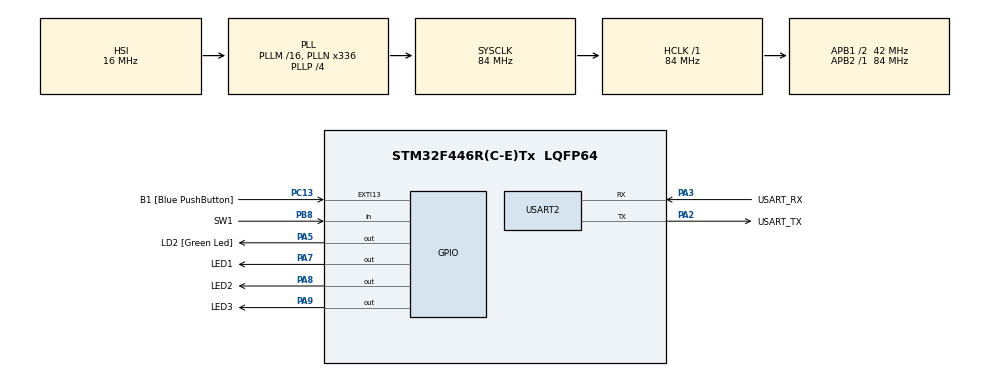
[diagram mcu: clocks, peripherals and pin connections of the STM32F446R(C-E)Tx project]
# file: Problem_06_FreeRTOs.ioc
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FREERTOS.Tasks01=on_led,0,128,sw1_led3,Default,NULL,Dynamic,NULL,NULL
FREERTOS.configUSE_NEWLIB_REENTRANT=1
Mcu.Family=STM32F4
Mcu.Name=STM32F446R(C-E)Tx
Mcu.Package=LQFP64
NVIC.PriorityGroup=NVIC_PRIORITYGROUP_4
NVIC.TIM3_IRQn=true\:15\:0\:false\:false\:true\:false\:false\:true\:true
NVIC.TimeBase=TIM3_IRQn
NVIC.TimeBaseIP=TIM3
PA13.GPIO_Label=TMS
PA13.Mode=Serial_Wire
PA13.Signal=SYS_JTMS-SWDIO
PA14.GPIO_Label=TCK
PA14.Mode=Serial_Wire
PA14.Signal=SYS_JTCK-SWCLK
PA2.GPIO_Label=USART_TX
PA2.Mode=Asynchronous
PA2.Signal=USART2_TX
PA3.GPIO_Label=USART_RX
PA3.Mode=Asynchronous
PA3.Signal=USART2_RX
PA5.GPIO_Label=LD2 [Green Led]
PA5.Signal=GPIO_Output
PA7.GPIO_Label=LED1
PA7.Signal=GPIO_Output
PA8.GPIO_Label=LED2
PA8.Signal=GPIO_Output
PA9.GPIO_Label=LED3
PA9.Signal=GPIO_Output
PB3.GPIO_Label=SWO
PB3.Signal=SYS_JTDO-SWO
PB8.GPIO_Label=SW1
PB8.GPIO_PuPd=GPIO_PULLUP
PB8.Signal=GPIO_Input
PC13.GPIO_Label=B1 [Blue PushButton]
PC13.GPIO_ModeDefaultEXTI=GPIO_MODE_IT_FALLING
PC13.Signal=GPXTI13
PC14-OSC32_IN.Mode=LSE-External-Oscillator
PC14-OSC32_IN.Signal=RCC_OSC32_IN
PC15-OSC32_OUT.Mode=LSE-External-Oscillator
PC15-OSC32_OUT.Signal=RCC_OSC32_OUT
PH0-OSC_IN.Mode=HSE-External-Oscillator
PH0-OSC_IN.Signal=RCC_OSC_IN
PH1-OSC_OUT.Mode=HSE-External-Oscillator
PH1-OSC_OUT.Signal=RCC_OSC_OUT
ProjectManager.HeapSize=0x200
ProjectManager.StackSize=0x400
ProjectManager.TargetToolchain=STM32CubeIDE
RCC.48MHZClocksFreq_Value=84000000
RCC.AHBFreq_Value=84000000
RCC.APB1CLKDivider=RCC_HCLK_DIV2
RCC.APB1Freq_Value=42000000
RCC.APB1TimFreq_Value=84000000
RCC.APB2Freq_Value=84000000
RCC.APB2TimFreq_Value=84000000
RCC.CortexFreq_Value=84000000
RCC.FLatency-AdvancedSettings=FLASH_LATENCY_2
RCC.HCLKFreq_Value=84000000
RCC.HSE_VALUE=8000000
RCC.HSI_VALUE=16000000
RCC.PLLN=336
RCC.PLLP=RCC_PLLP_DIV4
RCC.SYSCLKFreq_VALUE=84000000
RCC.SYSCLKSource=RCC_SYSCLKSOURCE_PLLCLK
RCC.USBFreq_Value=168000000
RCC.VCOOutputFreq_Value=336000000
USART2.VirtualMode=VM_ASYNC
VP_FREERTOS_VS_CMSIS_V1.Mode=CMSIS_V1
VP_SYS_VS_tim3.Mode=TIM3
board=NUCLEO-F446RE

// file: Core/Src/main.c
/* USER CODE BEGIN Header */
/**
  ******************************************************************************
  * @file           : main.c
  * @brief          : Main program body
  ******************************************************************************
  * @attention
  *
  * Copyright (c) 2024 STMicroelectronics.
  * All rights reserved.
  *
  * This software is licensed under terms that can be found in the LICENSE file
  * in the root directory of this software component.
  * If no LICENSE file comes with this software, it is provided AS-IS.
  *
  ******************************************************************************
  */
/* USER CODE END Header */
#include "main.h"
#include "cmsis_os.h"

UART_HandleTypeDef huart2;

osThreadId on_ledHandle;

void SystemClock_Config(void);
static void MX_GPIO_Init(void);
static void MX_USART2_UART_Init(void);
void sw1_led3(void const * argument);

/* USER CODE BEGIN 0 */
uint8_t switchPressCount;
/* USER CODE END 0 */

int main(void)
{

  /* MCU Configuration--------------------------------------------------------*/

  /* Reset of all peripherals, Initializes the Flash interface and the Systick. */
  HAL_Init();

  /* Configure the system clock */
  SystemClock_Config();

  /* Initialize all configured peripherals */
  MX_GPIO_Init();
  MX_USART2_UART_Init();

  /* Create the thread(s) */
  /* definition and creation of on_led */
  osThreadDef(on_led, sw1_led3, osPriorityNormal, 0, 128);
  on_ledHandle = osThreadCreate(osThread(on_led), NULL);

  /* Start scheduler */
  osKernelStart();

  /* We should never get here as control is now taken by the scheduler */
  /* Infinite loop */
  while (1)
  {

  }
}

void SystemClock_Config(void)
{
  RCC_OscInitTypeDef RCC_OscInitStruct = {0};
  RCC_ClkInitTypeDef RCC_ClkInitStruct = {0};

  /** Configure the main internal regulator output voltage
  */
  __HAL_RCC_PWR_CLK_ENABLE();
  __HAL_PWR_VOLTAGESCALING_CONFIG(PWR_REGULATOR_VOLTAGE_SCALE3);

  /** Initializes the RCC Oscillators according to the specified parameters
  * in the RCC_OscInitTypeDef structure.
  */
  RCC_OscInitStruct.OscillatorType = RCC_OSCILLATORTYPE_HSI;
  RCC_OscInitStruct.HSIState = RCC_HSI_ON;
  RCC_OscInitStruct.HSICalibrationValue = RCC_HSICALIBRATION_DEFAULT;
  RCC_OscInitStruct.PLL.PLLState = RCC_PLL_ON;
  RCC_OscInitStruct.PLL.PLLSource = RCC_PLLSOURCE_HSI;
  RCC_OscInitStruct.PLL.PLLM = 16;
  RCC_OscInitStruct.PLL.PLLN = 336;
  RCC_OscInitStruct.PLL.PLLP = RCC_PLLP_DIV4;
  RCC_OscInitStruct.PLL.PLLQ = 2;
  RCC_OscInitStruct.PLL.PLLR = 2;
  if (HAL_RCC_OscConfig(&RCC_OscInitStruct) != HAL_OK)
  {
    Error_Handler();
  }

  /** Initializes the CPU, AHB and APB buses clocks
  */
  RCC_ClkInitStruct.ClockType = RCC_CLOCKTYPE_HCLK|RCC_CLOCKTYPE_SYSCLK
                              |RCC_CLOCKTYPE_PCLK1|RCC_CLOCKTYPE_PCLK2;
  RCC_ClkInitStruct.SYSCLKSource = RCC_SYSCLKSOURCE_PLLCLK;
  RCC_ClkInitStruct.AHBCLKDivider = RCC_SYSCLK_DIV1;
  RCC_ClkInitStruct.APB1CLKDivider = RCC_HCLK_DIV2;
  RCC_ClkInitStruct.APB2CLKDivider = RCC_HCLK_DIV1;

  if (HAL_RCC_ClockConfig(&RCC_ClkInitStruct, FLASH_LATENCY_2) != HAL_OK)
  {
    Error_Handler();
  }
}

static void MX_USART2_UART_Init(void)
{

  huart2.Instance = USART2;
  huart2.Init.BaudRate = 115200;
  huart2.Init.WordLength = UART_WORDLENGTH_8B;
  huart2.Init.StopBits = UART_STOPBITS_1;
  huart2.Init.Parity = UART_PARITY_NONE;
  huart2.Init.Mode = UART_MODE_TX_RX;
  huart2.Init.HwFlowCtl = UART_HWCONTROL_NONE;
  huart2.Init.OverSampling = UART_OVERSAMPLING_16;
  if (HAL_UART_Init(&huart2) != HAL_OK)
  {
    Error_Handler();
  }

}

static void MX_GPIO_Init(void)
{
  GPIO_InitTypeDef GPIO_InitStruct = {0};

  /* GPIO Ports Clock Enable */
  __HAL_RCC_GPIOC_CLK_ENABLE();
  __HAL_RCC_GPIOH_CLK_ENABLE();
  __HAL_RCC_GPIOA_CLK_ENABLE();
  __HAL_RCC_GPIOB_CLK_ENABLE();

  /*Configure GPIO pin Output Level */
  HAL_GPIO_WritePin(GPIOA, LD2_Pin|LED1_Pin|LED2_Pin|LED3_Pin, GPIO_PIN_RESET);

  /*Configure GPIO pin : B1_Pin */
  GPIO_InitStruct.Pin = B1_Pin;
  GPIO_InitStruct.Mode = GPIO_MODE_IT_FALLING;
  GPIO_InitStruct.Pull = GPIO_NOPULL;
  HAL_GPIO_Init(B1_GPIO_Port, &GPIO_InitStruct);

  /*Configure GPIO pins : LD2_Pin LED1_Pin LED2_Pin LED3_Pin */
  GPIO_InitStruct.Pin = LD2_Pin|LED1_Pin|LED2_Pin|LED3_Pin;
  GPIO_InitStruct.Mode = GPIO_MODE_OUTPUT_PP;
  GPIO_InitStruct.Pull = GPIO_NOPULL;
  GPIO_InitStruct.Speed = GPIO_SPEED_FREQ_LOW;
  HAL_GPIO_Init(GPIOA, &GPIO_InitStruct);

  /*Configure GPIO pin : SW1_Pin */
  GPIO_InitStruct.Pin = SW1_Pin;
  GPIO_InitStruct.Mode = GPIO_MODE_INPUT;
  GPIO_InitStruct.Pull = GPIO_PULLUP;
  HAL_GPIO_Init(SW1_GPIO_Port, &GPIO_InitStruct);

}

void sw1_led3(void const * argument)
{
  /* USER CODE BEGIN 5 */
  /* Infinite loop */
  for(;;)
  {
	  if (HAL_GPIO_ReadPin(SW1_GPIO_Port, SW1_Pin) == 0) // Assuming active-low switch
	  	      {
	  	        // Increment the switch press count
	  	        switchPressCount++;

	  	        // Turn on the corresponding LED based on the switch press count
	  	        if (switchPressCount == 1)
	  	        {
	  	          HAL_GPIO_WritePin(LED1_GPIO_Port, LED1_Pin, 1);
	  	        }
	  	        else if (switchPressCount == 2)
	  	        {
	  	          HAL_GPIO_WritePin(LED2_GPIO_Port, LED2_Pin, 1);
	  	        }
	  	        else if (switchPressCount == 3)
	  	        {
	  	          HAL_GPIO_WritePin(LED3_GPIO_Port, LED3_Pin, 1);
	  	        }

	  	        // Wait until the button is released
	  	        while (HAL_GPIO_ReadPin(SW1_GPIO_Port, SW1_Pin) == 0);

	  	        // Turn off all LEDs after releasing the switch
	  	        HAL_GPIO_WritePin(LED1_GPIO_Port, LED1_Pin, 0);
	  	        HAL_GPIO_WritePin(LED2_GPIO_Port, LED2_Pin, 0);
	  	        HAL_GPIO_WritePin(LED3_GPIO_Port, LED3_Pin, 0);

	  	        // Reset the switch press count after the third press
	  	        if (switchPressCount == 3)
	  	        {
	  	          switchPressCount = 0;
	  	        }

	  	        // Debounce delay
	  	        HAL_Delay(100);
	  	      }
    osDelay(1);
  }
  /* USER CODE END 5 */
}

void HAL_TIM_PeriodElapsedCallback(TIM_HandleTypeDef *htim)
{
  if (htim->Instance == TIM3) {
    HAL_IncTick();
  }
}

void Error_Handler(void)
{
  __disable_irq();
  while (1)
  {
  }
}
